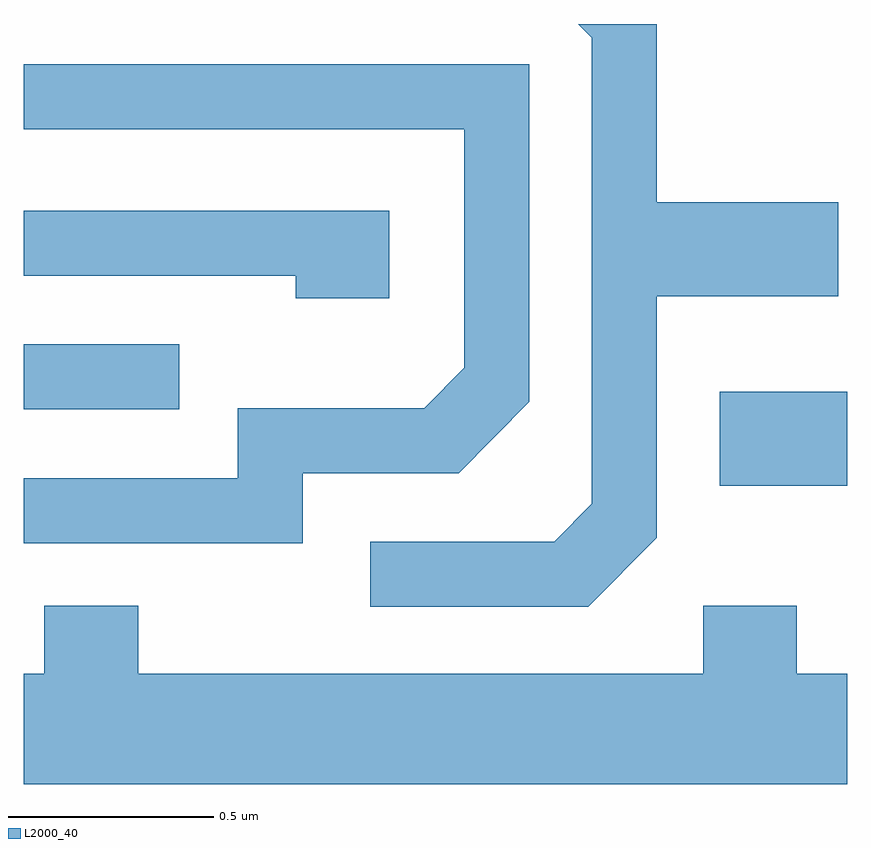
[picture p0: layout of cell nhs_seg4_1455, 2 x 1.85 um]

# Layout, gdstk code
import gdstk
lib = gdstk.Library(unit=1e-6, precision=1e-09)
def R(c, l, rs):  # rectangles x0, y0, x1, y1
    for r in rs: c.add(gdstk.rectangle(r[:2], r[2:], *l))
def P(c, l, *ps):  # polygons
    for p in ps: c.add(gdstk.Polygon(p, *l))
L2000_40 = (2000, 40)

nhs_seg4_1455 = lib.new_cell('nhs_seg4_1455')
R(nhs_seg4_1455, L2000_40, [(197.301,1339.861,197.611,1340.089), (195.611,1340.046,195.988,1340.204)])
P(nhs_seg4_1455, L2000_40, [(197.149,1339.734),(197.149,1340.321),(197.589,1340.321),(197.589,1340.549),(197.149,1340.549),(197.149,1340.982),(196.958,1340.982),(196.991,1340.949),(196.991,1339.817),(196.899,1339.724),(196.453,1339.724),(196.453,1339.566),(196.982,1339.566)],
  [(196.289,1339.891),(196.667,1339.891),(196.839,1340.064),(196.839,1340.884),(195.611,1340.884),(195.611,1340.726),(196.681,1340.726),(196.681,1340.147),(196.584,1340.049),(196.131,1340.049),(196.131,1339.879),(195.611,1339.879),(195.611,1339.721),(196.289,1339.721)],
  [(196.499,1340.529),(195.611,1340.529),(195.611,1340.371),(196.271,1340.371),(196.271,1340.316),(196.499,1340.316)],
  [(197.611,1339.404),(197.489,1339.404),(197.489,1339.569),(197.261,1339.569),(197.261,1339.404),(195.889,1339.404),(195.889,1339.569),(195.661,1339.569),(195.661,1339.404),(195.611,1339.404),(195.611,1339.136),(197.611,1339.136)])

lib.write_gds('nhs_seg4_1455.gds')
